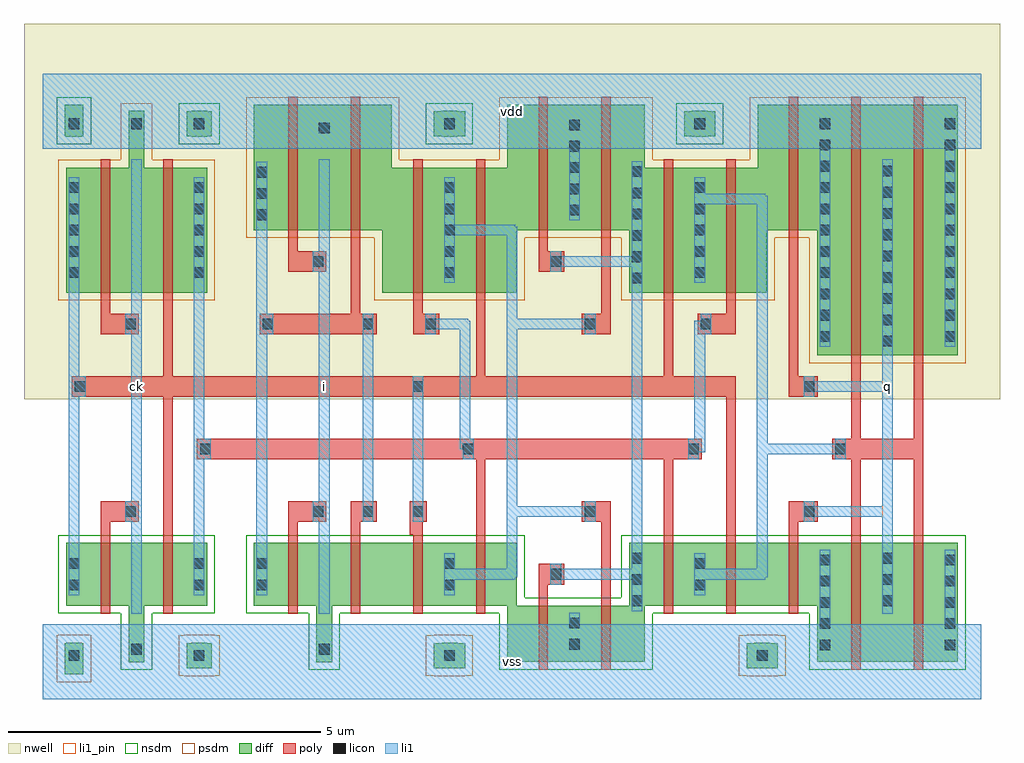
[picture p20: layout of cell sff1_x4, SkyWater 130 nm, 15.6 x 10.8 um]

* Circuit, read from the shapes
.subckt sff1_x4 ck i q vdd vss
XM1 vss ck n1 VSUBS sky130_fd_pr__nfet_01v8 w=1 l=0.15
XM2 n2 n1 vss VSUBS sky130_fd_pr__nfet_01v8 w=1 l=0.15
XM3 vss i n3 VSUBS sky130_fd_pr__nfet_01v8 w=1 l=0.15
XM4 n4 n3 vss VSUBS sky130_fd_pr__nfet_01v8 w=1 l=0.15
XM5 n5 n1 n4 VSUBS sky130_fd_pr__nfet_01v8 w=1 l=0.15
XM6 n6 n2 n5 VSUBS sky130_fd_pr__nfet_01v8 w=1 l=0.15
XM7 vss n7 n6 VSUBS sky130_fd_pr__nfet_01v8 w=0.9 l=0.15
XM8 n7 n5 vss VSUBS sky130_fd_pr__nfet_01v8 w=0.9 l=0.15
XM9 n8 n2 n7 VSUBS sky130_fd_pr__nfet_01v8 w=1 l=0.15
XM10 n9 n1 n8 VSUBS sky130_fd_pr__nfet_01v8 w=1 l=0.15
XM11 vss q n9 VSUBS sky130_fd_pr__nfet_01v8 w=1 l=0.15
XM12 q n8 vss VSUBS sky130_fd_pr__nfet_01v8 w=1.9 l=0.15 m=2
XM13 vdd ck n1 n10 sky130_fd_pr__pfet_01v8 w=2 l=0.15
XM14 n2 n1 vdd n10 sky130_fd_pr__pfet_01v8 w=2 l=0.15
XM15 vdd i n3 n10 sky130_fd_pr__pfet_01v8 w=2 l=0.15
XM16 n11 n3 vdd n10 sky130_fd_pr__pfet_01v8 w=2 l=0.15
XM17 n5 n2 n11 n10 sky130_fd_pr__pfet_01v8 w=2 l=0.15
XM18 n12 n1 n5 n10 sky130_fd_pr__pfet_01v8 w=2 l=0.15
XM19 vdd n7 n12 n10 sky130_fd_pr__pfet_01v8 w=2 l=0.15
XM20 n7 n5 vdd n10 sky130_fd_pr__pfet_01v8 w=2 l=0.15
XM21 n8 n1 n7 n10 sky130_fd_pr__pfet_01v8 w=2 l=0.15
XM22 n13 n2 n8 n10 sky130_fd_pr__pfet_01v8 w=2 l=0.15
XM23 vdd q n13 n10 sky130_fd_pr__pfet_01v8 w=2 l=0.15
XM24 q n8 vdd n10 sky130_fd_pr__pfet_01v8 w=4 l=0.15 m=2
.ends

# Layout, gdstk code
import gdstk
lib = gdstk.Library(unit=1e-6, precision=1e-09)
def R(c, l, rs):  # rectangles x0, y0, x1, y1
    for r in rs: c.add(gdstk.rectangle(r[:2], r[2:], *l))
def A(c, l, x, y, w, h, nx, ny, dx, dy):  # array of equal rectangles
    R(c, l, [(x+i*dx, y+j*dy, x+i*dx+w, y+j*dy+h) for i in range(nx) for j in range(ny)])
def P(c, l, *ps):  # polygons
    for p in ps: c.add(gdstk.Polygon(p, *l))
nwell = (64, 20)
diff = (65, 20)
poly = (66, 20)
licon = (66, 44)
li1_pin = (67, 16)
li1 = (67, 20)
nsdm = (93, 44)
psdm = (94, 20)

sff1_x4 = lib.new_cell('sff1_x4')
R(sff1_x4, nwell, [(-0.3,4.8,15.3,10.8)])
P(sff1_x4, diff, [(0.35,0.4),(0.35,0.9),(0.375,0.9),(0.375,0.905),(0.625,0.905),(0.625,0.9),(0.65,0.9),(0.65,0.4)],
  [(2.375,0.495),(2.375,0.5),(2.3,0.5),(2.3,0.9),(2.375,0.9),(2.375,0.905),(2.625,0.905),(2.625,0.9),(2.7,0.9),(2.7,0.5),(2.625,0.5),(2.625,0.495)],
  [(6.375,0.495),(6.375,0.5),(6.25,0.5),(6.25,0.9),(6.375,0.9),(6.375,0.905),(6.625,0.905),(6.625,0.9),(6.75,0.9),(6.75,0.5),(6.625,0.5),(6.625,0.495)],
  [(11.375,0.495),(11.375,0.5),(11.25,0.5),(11.25,0.9),(11.375,0.9),(11.375,0.905),(11.625,0.905),(11.625,0.9),(11.75,0.9),(11.75,0.5),(11.625,0.5),(11.625,0.495)],
  [(1.375,0.595),(1.375,1.5),(0.375,1.5),(0.375,2.5),(2.625,2.5),(2.625,1.5),(1.625,1.5),(1.625,0.595)],
  [(4.375,0.595),(4.375,1.5),(3.375,1.5),(3.375,2.5),(7.575,2.5),(7.575,1.5),(9.375,1.5),(9.375,2.5),(14.625,2.5),(14.625,0.6),(12.375,0.6),(12.375,1.5),(9.625,1.5),(9.625,0.6),(7.425,0.6),(7.425,1.5),(4.625,1.5),(4.625,0.595)],
  [(0.375,6.5),(0.375,8.5),(1.375,8.5),(1.375,9.405),(1.625,9.405),(1.625,8.5),(2.625,8.5),(2.625,6.5)],
  [(2.375,8.995),(2.375,9),(2.3,9),(2.3,9.4),(2.375,9.4),(2.375,9.405),(2.625,9.405),(2.625,9.4),(2.7,9.4),(2.7,9),(2.625,9),(2.625,8.995)],
  [(6.375,8.995),(6.375,9),(6.25,9),(6.25,9.4),(6.375,9.4),(6.375,9.405),(6.625,9.405),(6.625,9.4),(6.75,9.4),(6.75,9),(6.625,9),(6.625,8.995)],
  [(10.375,8.995),(10.375,9),(10.25,9),(10.25,9.4),(10.375,9.4),(10.375,9.405),(10.625,9.405),(10.625,9.4),(10.75,9.4),(10.75,9),(10.625,9),(10.625,8.995)],
  [(0.375,8.995),(0.375,9),(0.35,9),(0.35,9.5),(0.65,9.5),(0.65,9),(0.625,9),(0.625,8.995)],
  [(12.375,5.5),(12.375,7.5),(11.575,7.5),(11.575,6.5),(9.375,6.5),(9.375,7.5),(7.575,7.5),(7.575,6.5),(5.425,6.5),(5.425,7.5),(3.375,7.5),(3.375,9.5),(5.575,9.5),(5.575,8.5),(7.425,8.5),(7.425,9.5),(9.625,9.5),(9.625,8.5),(11.425,8.5),(11.425,9.5),(14.625,9.5),(14.625,5.5)])
P(sff1_x4, poly, [(7.925,0.47),(7.925,2.165),(8.335,2.165),(8.335,1.835),(8.075,1.835),(8.075,0.47)],
  [(0.925,1.37),(0.925,3.165),(1.535,3.165),(1.535,2.835),(1.075,2.835),(1.075,1.37)],
  [(3.925,1.37),(3.925,3.165),(4.535,3.165),(4.535,2.835),(4.075,2.835),(4.075,1.37)],
  [(4.925,1.37),(4.925,3.165),(5.335,3.165),(5.335,2.835),(5.075,2.835),(5.075,1.37)],
  [(5.925,1.37),(5.925,2.63),(5.865,2.63),(5.865,3.165),(6.135,3.165),(6.135,2.835),(6.075,2.835),(6.075,1.37)],
  [(8.925,0.47),(8.925,2.835),(8.615,2.835),(8.615,3.165),(9.075,3.165),(9.075,0.47)],
  [(11.925,1.37),(11.925,3.165),(12.385,3.165),(12.385,2.835),(12.075,2.835),(12.075,1.37)],
  [(6.925,1.37),(6.925,3.835),(2.465,3.835),(2.465,4.165),(10.535,4.165),(10.535,3.835),(10.075,3.835),(10.075,1.37),(9.925,1.37),(9.925,3.835),(7.075,3.835),(7.075,1.37)],
  [(0.925,5.835),(0.925,8.63),(1.075,8.63),(1.075,6.165),(1.535,6.165),(1.535,5.835)],
  [(5.925,5.835),(5.925,8.63),(6.075,8.63),(6.075,6.165),(6.335,6.165),(6.335,5.835)],
  [(1.925,1.37),(1.925,4.835),(0.465,4.835),(0.465,5.165),(1.925,5.165),(1.925,8.63),(2.075,8.63),(2.075,5.165),(6.925,5.165),(6.925,8.63),(7.075,8.63),(7.075,5.165),(9.925,5.165),(9.925,8.63),(10.075,8.63),(10.075,5.165),(11.075,5.165),(11.075,1.37),(10.925,1.37),(10.925,4.835),(2.075,4.835),(2.075,1.37)],
  [(10.465,5.835),(10.465,6.165),(10.925,6.165),(10.925,8.63),(11.075,8.63),(11.075,5.835)],
  [(3.925,6.835),(3.925,9.63),(4.075,9.63),(4.075,7.165),(4.535,7.165),(4.535,6.835)],
  [(3.465,5.835),(3.465,6.165),(4.925,6.165),(4.925,9.63),(5.075,9.63),(5.075,6.165),(5.335,6.165),(5.335,5.835)],
  [(7.925,6.835),(7.925,9.63),(8.075,9.63),(8.075,7.165),(8.335,7.165),(8.335,6.835)],
  [(8.615,5.835),(8.615,6.165),(8.925,6.165),(8.925,9.63),(9.075,9.63),(9.075,5.835)],
  [(11.925,4.835),(11.925,9.63),(12.075,9.63),(12.075,5.165),(12.385,5.165),(12.385,4.835)],
  [(12.925,0.47),(12.925,3.835),(12.615,3.835),(12.615,4.165),(12.925,4.165),(12.925,9.63),(13.075,9.63),(13.075,4.165),(13.925,4.165),(13.925,9.63),(14.075,9.63),(14.075,0.47),(13.925,0.47),(13.925,3.835),(13.075,3.835),(13.075,0.47)])
A(sff1_x4, licon, 12.415, 0.785, 0.17, 0.17, 1, 5, 0, 0.34)
A(sff1_x4, licon, 14.415, 0.785, 0.17, 0.17, 1, 5, 0, 0.34)
A(sff1_x4, licon, 9.415, 1.49, 0.17, 0.17, 1, 3, 0, 0.34)
A(sff1_x4, licon, 13.415, 1.49, 0.17, 0.17, 1, 3, 0, 0.34)
A(sff1_x4, licon, 4.315, 2.915, 0.17, 0.17, 3, 1, 0.8, 0)
A(sff1_x4, licon, 13.415, 5.64, 0.17, 0.17, 1, 9, 0, 0.34)
A(sff1_x4, licon, 12.415, 5.715, 0.17, 0.17, 1, 10, 0, 0.34)
A(sff1_x4, licon, 14.415, 5.715, 0.17, 0.17, 1, 10, 0, 0.34)
A(sff1_x4, licon, 9.415, 6.65, 0.17, 0.17, 1, 6, 0, 0.34)
A(sff1_x4, licon, 0.415, 6.735, 0.17, 0.17, 1, 5, 0, 0.34)
A(sff1_x4, licon, 2.415, 6.735, 0.17, 0.17, 3, 5, 4, 0.34)
A(sff1_x4, licon, 3.415, 7.66, 0.17, 0.17, 1, 3, 0, 0.34)
A(sff1_x4, licon, 8.415, 7.735, 0.17, 0.17, 1, 5, 0, 0.34)
A(sff1_x4, licon, 0.415, 9.115, 0.17, 0.17, 3, 1, 1, 0)
A(sff1_x4, licon, 10.415, 9.115, 0.17, 0.17, 3, 1, 2, 0)
R(sff1_x4, licon, [(0.415,0.615,0.585,0.785), (2.415,0.615,2.585,0.785), (6.415,0.615,6.585,0.785), (11.415,0.615,11.585,0.785), (1.415,0.715,1.585,0.885), (4.415,0.715,4.585,0.885), (8.415,0.795,8.585,0.965), (8.415,1.135,8.585,1.305), (0.415,1.745,0.585,1.915), (2.415,1.745,2.585,1.915), (3.415,1.745,3.585,1.915), (6.415,1.745,6.585,1.915), (10.415,1.745,10.585,1.915), (8.115,1.915,8.285,2.085), (0.415,2.085,0.585,2.255), (2.415,2.085,2.585,2.255), (3.415,2.085,3.585,2.255), (6.415,2.085,6.585,2.255), (10.415,2.085,10.585,2.255), (1.315,2.915,1.485,3.085), (8.665,2.915,8.835,3.085), (12.165,2.915,12.335,3.085), (2.515,3.915,2.685,4.085), (6.715,3.915,6.885,4.085), (10.315,3.915,10.485,4.085), (12.665,3.915,12.835,4.085), (0.515,4.915,0.685,5.085), (5.915,4.915,6.085,5.085), (12.165,4.915,12.335,5.085), (1.315,5.915,1.485,6.085), (3.515,5.915,3.685,6.085), (5.115,5.915,5.285,6.085), (6.115,5.915,6.285,6.085), (8.665,5.915,8.835,6.085), (10.515,5.915,10.685,6.085), (4.315,6.915,4.485,7.085), (8.115,6.915,8.285,7.085), (4.415,9.045,4.585,9.215), (6.415,9.115,6.585,9.285)])
R(sff1_x4, li1_pin, [(0,0,15,1.2), (1.415,1.37,1.585,8.63), (4.415,1.37,4.585,8.63), (13.415,1.37,13.585,8.63), (0,8.8,15,10)])
R(sff1_x4, li1, [(5.115,2.835,5.285,6.165), (5.915,2.835,6.085,5.165)])
P(sff1_x4, li1, [(0,0),(0,1.2),(8.415,1.2),(8.415,1.385),(8.585,1.385),(8.585,1.2),(12.415,1.2),(12.415,2.395),(12.585,2.395),(12.585,1.2),(14.415,1.2),(14.415,2.395),(14.585,2.395),(14.585,1.2),(15,1.2),(15,0)],
  [(6.715,3.835),(6.715,3.995),(6.665,3.995),(6.665,5.915),(6.285,5.915),(6.285,5.835),(6.115,5.835),(6.115,6.165),(6.285,6.165),(6.285,6.085),(6.8,6.085),(6.8,6.05),(6.835,6.05),(6.835,4.165),(6.885,4.165),(6.885,3.835)],
  [(10.315,3.835),(10.315,4.165),(10.415,4.165),(10.415,6.05),(10.515,6.05),(10.515,6.165),(10.685,6.165),(10.685,5.835),(10.585,5.835),(10.585,3.95),(10.485,3.95),(10.485,3.835)],
  [(0.415,1.665),(0.415,8.345),(0.585,8.345),(0.585,5.165),(0.685,5.165),(0.685,4.835),(0.585,4.835),(0.585,1.665)],
  [(2.415,1.665),(2.415,8.345),(2.585,8.345),(2.585,4.165),(2.685,4.165),(2.685,3.835),(2.585,3.835),(2.585,1.665)],
  [(6.415,1.665),(6.415,2.335),(6.585,2.335),(6.585,2.085),(7.415,2.085),(7.415,7.415),(6.585,7.415),(6.585,6.655),(6.415,6.655),(6.415,8.345),(6.585,8.345),(6.585,7.585),(7.55,7.585),(7.55,7.55),(7.585,7.55),(7.585,6.085),(8.665,6.085),(8.665,6.165),(8.835,6.165),(8.835,5.835),(8.665,5.835),(8.665,5.915),(7.585,5.915),(7.585,3.085),(8.665,3.085),(8.665,3.165),(8.835,3.165),(8.835,2.835),(8.665,2.835),(8.665,2.915),(7.585,2.915),(7.585,1.95),(7.55,1.95),(7.55,1.915),(6.585,1.915),(6.585,1.665)],
  [(10.415,1.665),(10.415,2.335),(10.585,2.335),(10.585,2.085),(11.415,2.085),(11.415,7.915),(10.585,7.915),(10.585,6.655),(10.415,6.655),(10.415,8.345),(10.585,8.345),(10.585,8.085),(11.55,8.085),(11.55,8.05),(11.585,8.05),(11.585,4.085),(12.665,4.085),(12.665,4.165),(12.835,4.165),(12.835,3.835),(12.665,3.835),(12.665,3.915),(11.585,3.915),(11.585,1.95),(11.55,1.95),(11.55,1.915),(10.585,1.915),(10.585,1.665)],
  [(3.415,1.665),(3.415,8.59),(3.585,8.59),(3.585,6.165),(3.685,6.165),(3.685,5.835),(3.585,5.835),(3.585,1.665)],
  [(9.415,1.41),(9.415,1.915),(8.285,1.915),(8.285,1.835),(8.115,1.835),(8.115,2.165),(8.285,2.165),(8.285,2.085),(9.415,2.085),(9.415,6.915),(8.285,6.915),(8.285,6.835),(8.115,6.835),(8.115,7.165),(8.285,7.165),(8.285,7.085),(9.415,7.085),(9.415,8.6),(9.585,8.6),(9.585,1.41)],
  [(1.415,1.37),(1.415,2.835),(1.315,2.835),(1.315,3.165),(1.415,3.165),(1.415,5.835),(1.315,5.835),(1.315,6.165),(1.415,6.165),(1.415,8.63),(1.585,8.63),(1.585,1.37)],
  [(4.415,1.37),(4.415,2.835),(4.315,2.835),(4.315,3.165),(4.415,3.165),(4.415,6.835),(4.315,6.835),(4.315,7.165),(4.415,7.165),(4.415,8.63),(4.585,8.63),(4.585,1.37)],
  [(13.415,1.37),(13.415,2.915),(12.335,2.915),(12.335,2.835),(12.165,2.835),(12.165,3.165),(12.335,3.165),(12.335,3.085),(13.415,3.085),(13.415,4.915),(12.335,4.915),(12.335,4.835),(12.165,4.835),(12.165,5.165),(12.335,5.165),(12.335,5.085),(13.415,5.085),(13.415,8.63),(13.585,8.63),(13.585,1.37)],
  [(12.415,5.635),(12.415,8.8),(8.585,8.8),(8.585,7.655),(8.415,7.655),(8.415,8.8),(0,8.8),(0,10),(15,10),(15,8.8),(14.585,8.8),(14.585,5.635),(14.415,5.635),(14.415,8.8),(12.585,8.8),(12.585,5.635)])
P(sff1_x4, nsdm, [(1.25,0.47),(1.25,1.375),(0.25,1.375),(0.25,2.625),(2.75,2.625),(2.75,1.375),(1.75,1.375),(1.75,0.47)],
  [(4.25,0.47),(4.25,1.375),(3.25,1.375),(3.25,2.625),(7.7,2.625),(7.7,1.625),(9.25,1.625),(9.25,2.625),(14.75,2.625),(14.75,0.475),(12.25,0.475),(12.25,1.375),(9.75,1.375),(9.75,0.475),(7.3,0.475),(7.3,1.375),(4.75,1.375),(4.75,0.47)],
  [(2.25,8.87),(2.25,8.875),(2.175,8.875),(2.175,9.525),(2.25,9.525),(2.25,9.53),(2.75,9.53),(2.75,9.525),(2.825,9.525),(2.825,8.875),(2.75,8.875),(2.75,8.87)],
  [(6.25,8.87),(6.25,8.875),(6.125,8.875),(6.125,9.525),(6.25,9.525),(6.25,9.53),(6.75,9.53),(6.75,9.525),(6.875,9.525),(6.875,8.875),(6.75,8.875),(6.75,8.87)],
  [(10.25,8.87),(10.25,8.875),(10.125,8.875),(10.125,9.525),(10.25,9.525),(10.25,9.53),(10.75,9.53),(10.75,9.525),(10.875,9.525),(10.875,8.875),(10.75,8.875),(10.75,8.87)],
  [(0.25,8.87),(0.25,8.875),(0.225,8.875),(0.225,9.625),(0.775,9.625),(0.775,8.875),(0.75,8.875),(0.75,8.87)])
P(sff1_x4, psdm, [(0.225,0.275),(0.225,1.025),(0.25,1.025),(0.25,1.03),(0.75,1.03),(0.75,1.025),(0.775,1.025),(0.775,0.275)],
  [(2.25,0.37),(2.25,0.375),(2.175,0.375),(2.175,1.025),(2.25,1.025),(2.25,1.03),(2.75,1.03),(2.75,1.025),(2.825,1.025),(2.825,0.375),(2.75,0.375),(2.75,0.37)],
  [(6.25,0.37),(6.25,0.375),(6.125,0.375),(6.125,1.025),(6.25,1.025),(6.25,1.03),(6.75,1.03),(6.75,1.025),(6.875,1.025),(6.875,0.375),(6.75,0.375),(6.75,0.37)],
  [(11.25,0.37),(11.25,0.375),(11.125,0.375),(11.125,1.025),(11.25,1.025),(11.25,1.03),(11.75,1.03),(11.75,1.025),(11.875,1.025),(11.875,0.375),(11.75,0.375),(11.75,0.37)],
  [(0.25,6.375),(0.25,8.625),(1.25,8.625),(1.25,9.53),(1.75,9.53),(1.75,8.625),(2.75,8.625),(2.75,6.375)],
  [(12.25,5.375),(12.25,7.375),(11.7,7.375),(11.7,6.375),(9.25,6.375),(9.25,7.375),(7.7,7.375),(7.7,6.375),(5.3,6.375),(5.3,7.375),(3.25,7.375),(3.25,9.625),(5.7,9.625),(5.7,8.625),(7.3,8.625),(7.3,9.625),(9.75,9.625),(9.75,8.625),(11.3,8.625),(11.3,9.625),(14.75,9.625),(14.75,5.375)])
sff1_x4.add(gdstk.Label('vss', (7.5,0.6), layer=67, texttype=16))
sff1_x4.add(gdstk.Label('ck', (1.5,5), layer=67, texttype=16))
sff1_x4.add(gdstk.Label('vdd', (7.5,9.4), layer=67, texttype=16))
sff1_x4.add(gdstk.Label('i', (4.5,5), layer=67, texttype=16))
sff1_x4.add(gdstk.Label('q', (13.5,5), layer=67, texttype=16))
sff1_x4.add(gdstk.Label('vss', (7.5,0.6), layer=67, texttype=16))
sff1_x4.add(gdstk.Label('ck', (1.5,5), layer=67, texttype=16))
sff1_x4.add(gdstk.Label('vdd', (7.5,9.4), layer=67, texttype=16))
sff1_x4.add(gdstk.Label('i', (4.5,5), layer=67, texttype=16))
sff1_x4.add(gdstk.Label('q', (13.5,5), layer=67, texttype=16))

lib.write_gds('sff1_x4.gds')
